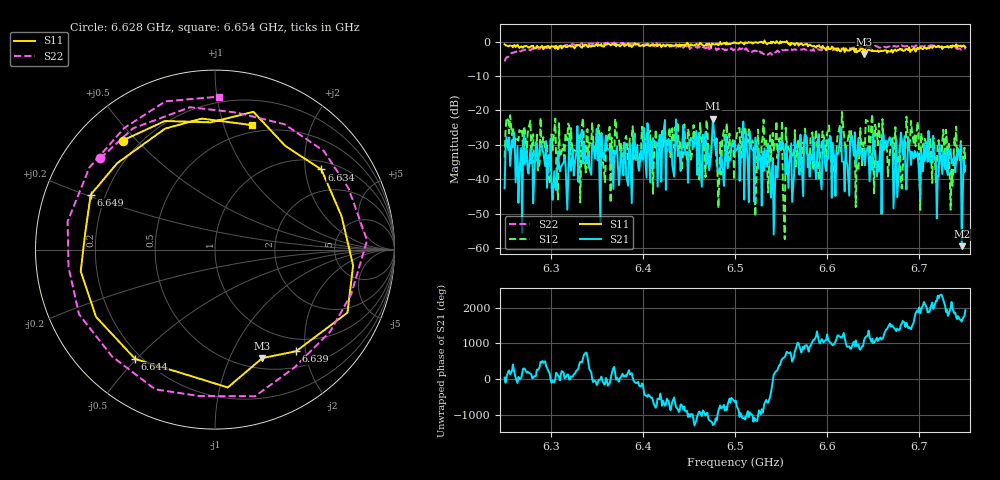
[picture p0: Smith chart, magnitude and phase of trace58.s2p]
# Hz S RI R 50
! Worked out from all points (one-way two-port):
!   401 points, 6.25 GHz to 6.75 GHz, reference 50 ohm
!   highest |S21| = -22.35 dB at 6.476 GHz (marker M1); lowest = -59.4 dB at 6.746 GHz (marker M2)
!   lowest |S11| = -3.6 dB at 6.64 GHz (marker M3), VSWR 4.87, Z = 31.1 - j66.5 ohm
!   |S11| at or under -10 dB: nowhere
!   |S22| runs from -5.8 to -0.2 dB; largest |S21 - S12| = 0.11
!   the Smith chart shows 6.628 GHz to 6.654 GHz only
!   S11 on the Smith chart (normalised r, x): 6.628 GHz: 0.14, +0.46; 6.634 GHz: 1.23, +2.44; 6.639 GHz: 0.77, -1.83; 6.644 GHz: 0.18, -0.50; 6.649 GHz: 0.14, +0.21; 6.654 GHz: 0.43, +1.24
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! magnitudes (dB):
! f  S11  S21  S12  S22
! 6.25 GHz  -0.8  -42.6  -33.7  -5.8
! 6.29 GHz  -1.3  -30.0  -30.6  -1.5
! 6.304 GHz  -1.5  -37.6  -25.4  -1.3
! 6.334 GHz  -1.8  -25.6  -24.2  -0.4
! 6.418 GHz  -0.8  -27.2  -27.4  -0.7
! 6.476 GHz  -0.7  -22.3  -27.5  -2.0
! 6.5 GHz  -0.4  -32.0  -28.6  -2.6
! 6.54 GHz  -0.5  -38.3  -29.2  -3.8
! 6.55 GHz  -0.4  -31.0  -32.0  -2.8
! 6.584 GHz  -1.3  -34.5  -26.3  -2.5
! 6.628 GHz  -2.0  -30.4  -29.6  -1.8
! 6.634 GHz  -2.6  -28.0  -36.9  -1.7
! 6.639 GHz  -2.8  -32.1  -29.2  -2.1
! 6.64 GHz  -3.6  -31.2  -32.1  -2.0
! 6.644 GHz  -2.4  -30.6  -23.0  -1.4
! 6.649 GHz  -2.4  -37.2  -21.0  -1.6
! 6.654 GHz  -2.8  -39.2  -26.7  -1.4
! 6.668 GHz  -2.9  -27.8  -32.5  -1.4
! 6.675 GHz  -2.7  -28.5  -31.6  -1.5
! 6.681 GHz  -2.2  -28.5  -42.7  -1.1
! 6.746 GHz  -1.5  -59.4  -32.3  -2.1
! 6.75 GHz  -1.6  -36.1  -34.7  -1.8
